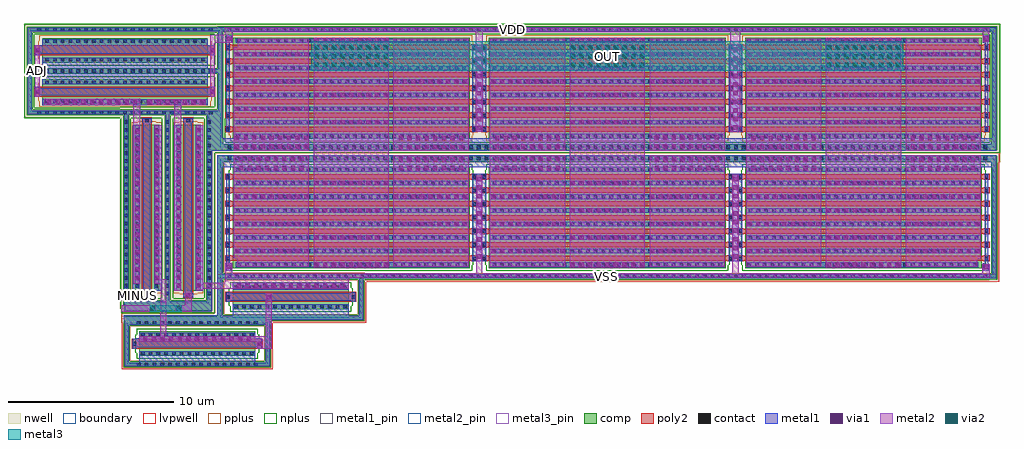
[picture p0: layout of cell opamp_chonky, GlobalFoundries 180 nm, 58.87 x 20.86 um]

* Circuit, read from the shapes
.subckt opamp_chonky ADJ MINUS OUT PLUS VDD VSS
XM1 n1 n1 VSS VSS nfet_03v3 w=7u l=0.6u
XM2 n2 n1 VSS VSS nfet_03v3 w=7u l=0.6u
XM3 VSS n2 OUT VSS nfet_03v3 w=14.29u l=0.3u m=21
XM4 VDD ADJ n3 VDD pfet_03v3 w=10u l=0.6u
XM5 ADJ ADJ VDD VDD pfet_03v3 w=10u l=0.6u
XM6 n1 MINUS n3 VDD pfet_03v3 w=10u l=0.6u
XM7 n2 PLUS n3 VDD pfet_03v3 w=10u l=0.6u
XM8 OUT ADJ VDD VDD pfet_03v3 w=14.29u l=0.3u m=21
.ends

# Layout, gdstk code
from math import pi, radians
import gdstk
lib = gdstk.Library(unit=1e-6, precision=1e-09)
def R(c, l, rs):  # rectangles x0, y0, x1, y1
    for r in rs: c.add(gdstk.rectangle(r[:2], r[2:], *l))
def A(c, l, x, y, w, h, nx, ny, dx, dy):  # array of equal rectangles
    R(c, l, [(x+i*dx, y+j*dy, x+i*dx+w, y+j*dy+h) for i in range(nx) for j in range(ny)])
boundary = (0, 0)
nwell = (21, 0)
comp = (22, 0)
poly2 = (30, 0)
pplus = (31, 0)
nplus = (32, 0)
contact = (33, 0)
metal1 = (34, 0)
metal1_pin = (34, 10)
via1 = (35, 0)
metal2 = (36, 0)
metal2_pin = (36, 10)
via2 = (38, 0)
metal3 = (42, 0)
metal3_pin = (42, 10)
lvpwell = (204, 0)

pfet_03v3_nbrhxb = lib.new_cell('pfet_03v3_NBRHXB')
R(pfet_03v3_nbrhxb, boundary, [(-1.25,-5.75,1.25,5.75)])
R(pfet_03v3_nbrhxb, nwell, [(-1.55,-6.05,1.55,6.05)])
R(pfet_03v3_nbrhxb, comp, [(-1.43,-5.93,1.43,-5.57), (-1.43,-5.57,-1.07,5.57), (1.07,-5.57,1.43,5.57), (-0.74,-5,0.74,5), (-1.43,5.57,1.43,5.93)])
R(pfet_03v3_nbrhxb, poly2, [(-0.3,-5.46,0.3,5.46)])
R(pfet_03v3_nbrhxb, pplus, [(-0.53,-5.23,0.53,-5.16), (-0.9,-5.16,0.9,5.16), (-0.53,5.16,0.53,5.23)])
R(pfet_03v3_nbrhxb, nplus, [(-1.59,-6.09,1.59,-5.46), (-1.59,-5.46,-0.96,5.46), (0.96,-5.46,1.59,5.46), (-1.59,5.46,1.59,6.09)])
A(pfet_03v3_nbrhxb, contact, -1.36, -5.28, 0.22, 0.22, 1, 23, 0, 0.47)
A(pfet_03v3_nbrhxb, contact, 1.14, -5.28, 0.22, 0.22, 1, 23, 0, 0.47)
A(pfet_03v3_nbrhxb, contact, -0.67, -4.81, 0.22, 0.22, 1, 21, 0, 0.47)
A(pfet_03v3_nbrhxb, contact, 0.45, -4.81, 0.22, 0.22, 1, 21, 0, 0.47)
R(pfet_03v3_nbrhxb, contact, [(-0.11,-5.39,0.11,-5.17), (-0.11,5.17,0.11,5.39)])
R(pfet_03v3_nbrhxb, metal1, [(-1.365,-5.865,1.365,-5.635), (-1.365,-5.635,-1.135,5.635), (1.135,-5.635,1.365,5.635), (-0.29,-5.395,0.29,-5.165), (-0.215,-5.165,0.215,5.165), (-0.675,-4.99,-0.445,4.99), (0.445,-4.99,0.675,4.99), (-0.29,5.165,0.29,5.395), (-1.365,5.635,1.365,5.865)])

nfet_03v3_p4zjfc = lib.new_cell('nfet_03v3_P4ZJFC')
R(nfet_03v3_p4zjfc, boundary, [(-1.25,-4.25,1.25,4.25)])
R(nfet_03v3_p4zjfc, comp, [(-1.43,-4.43,1.43,-4.07), (-1.43,-4.07,-1.07,4.07), (1.07,-4.07,1.43,4.07), (-0.74,-3.5,0.74,3.5), (-1.43,4.07,1.43,4.43)])
R(nfet_03v3_p4zjfc, poly2, [(-0.3,-3.96,0.3,3.96)])
R(nfet_03v3_p4zjfc, pplus, [(-1.45,-4.45,1.45,-4.05), (-1.45,-4.05,-1.04,-3.945), (1.04,-4.05,1.45,-3.945), (-1.46,-3.945,-1.04,3.945), (1.04,-3.945,1.46,3.945), (-1.45,3.945,-1.04,4.05), (1.04,3.945,1.45,4.05), (-1.45,4.05,1.45,4.45)])
R(nfet_03v3_p4zjfc, nplus, [(-0.53,-3.73,0.53,-3.66), (-0.9,-3.66,0.9,3.66), (-0.53,3.66,0.53,3.73)])
A(nfet_03v3_p4zjfc, contact, -1.36, -3.635, 0.22, 0.22, 1, 16, 0, 0.47)
A(nfet_03v3_p4zjfc, contact, 1.14, -3.635, 0.22, 0.22, 1, 16, 0, 0.47)
A(nfet_03v3_p4zjfc, contact, -0.67, -3.4, 0.22, 0.22, 1, 15, 0, 0.47)
A(nfet_03v3_p4zjfc, contact, 0.45, -3.4, 0.22, 0.22, 1, 15, 0, 0.47)
R(nfet_03v3_p4zjfc, contact, [(-0.11,-3.89,0.11,-3.67), (-0.11,3.67,0.11,3.89)])
R(nfet_03v3_p4zjfc, metal1, [(-1.365,-4.365,1.365,-4.135), (-1.365,-4.135,-1.135,4.135), (1.135,-4.135,1.365,4.135), (-0.29,-3.895,0.29,-3.665), (-0.215,-3.665,0.215,3.665), (-0.675,-3.49,-0.445,3.49), (0.445,-3.49,0.675,3.49), (-0.29,3.665,0.29,3.895), (-1.365,4.135,1.365,4.365)])
R(nfet_03v3_p4zjfc, lvpwell, [(-1.55,-4.55,1.55,4.55)])

pfet_03v3_682dum = lib.new_cell('pfet_03v3_682DUM')
R(pfet_03v3_682dum, boundary, [(-3.56,-23.345,3.56,23.345)])
R(pfet_03v3_682dum, nwell, [(-3.86,-23.645,3.86,23.645)])
A(pfet_03v3_682dum, comp, -3.05, -22.595, 6.1, 14.29, 1, 3, 0, 15.45)
R(pfet_03v3_682dum, comp, [(-3.74,-23.525,3.74,-23.165), (-3.74,-23.165,-3.38,23.165), (3.38,-23.165,3.74,23.165), (-3.74,23.165,3.74,23.525)])
A(pfet_03v3_682dum, poly2, -2.64, -23.055, 0.36, 0.36, 7, 2, 0.82, 14.85)
A(pfet_03v3_682dum, poly2, -2.61, -22.695, 0.3, 14.49, 7, 3, 0.82, 15.45)
A(pfet_03v3_682dum, poly2, -2.64, -7.605, 0.36, 0.36, 7, 2, 0.82, 14.85)
A(pfet_03v3_682dum, poly2, -2.64, 7.845, 0.36, 0.36, 7, 2, 0.82, 14.85)
A(pfet_03v3_682dum, pplus, -3.21, -22.755, 6.42, 14.61, 1, 3, 0, 15.45)
R(pfet_03v3_682dum, pplus, [(-2.84,-22.825,2.84,-22.755), (-2.84,-8.145,2.84,-8.075), (-2.84,-7.375,2.84,-7.305), (-2.84,7.305,2.84,7.375), (-2.84,8.075,2.84,8.145), (-2.84,22.755,2.84,22.825)])
R(pfet_03v3_682dum, nplus, [(-3.9,-23.685,3.9,-23.055), (-3.9,-23.055,-3.27,23.055), (3.27,-23.055,3.9,23.055), (-3.9,23.055,3.9,23.685)])
A(pfet_03v3_682dum, contact, -2.57, -22.985, 0.22, 0.22, 7, 2, 0.82, 14.85)
A(pfet_03v3_682dum, contact, -3.67, -22.905, 0.22, 0.22, 1, 98, 0, 0.47)
A(pfet_03v3_682dum, contact, 3.45, -22.905, 0.22, 0.22, 1, 98, 0, 0.47)
A(pfet_03v3_682dum, contact, -2.16, -22.375, 0.22, 0.22, 7, 30, 0.82, 0.47)
A(pfet_03v3_682dum, contact, -2.98, -22.32, 0.22, 0.22, 1, 30, 0, 0.47)
A(pfet_03v3_682dum, contact, -2.57, -7.535, 0.22, 0.22, 7, 2, 0.82, 14.85)
A(pfet_03v3_682dum, contact, -2.98, -6.925, 0.22, 0.22, 8, 30, 0.82, 0.47)
A(pfet_03v3_682dum, contact, -2.57, 7.915, 0.22, 0.22, 7, 2, 0.82, 14.85)
A(pfet_03v3_682dum, contact, -2.98, 8.44, 0.22, 0.22, 1, 30, 0, 0.47)
A(pfet_03v3_682dum, contact, -2.16, 8.525, 0.22, 0.22, 7, 30, 0.82, 0.47)
A(pfet_03v3_682dum, metal1, -2.165, -22.53, 0.23, 14.16, 7, 2, 0.82, 30.9)
A(pfet_03v3_682dum, metal1, -2.985, -7.08, 0.23, 14.16, 8, 1, 0.82, 0)
R(pfet_03v3_682dum, metal1, [(-3.675,-23.46,3.675,-23.23), (-3.675,-23.23,-3.445,23.23), (3.445,-23.23,3.675,23.23), (-2.63,-22.99,2.63,-22.76), (-2.985,-22.415,-2.755,-8.37), (-2.63,-8.14,2.63,-7.31), (-2.63,7.31,2.63,8.14), (-2.985,8.37,-2.755,22.31), (-2.63,22.76,2.63,22.99), (-3.675,23.23,3.675,23.46)])

nfet_03v3_usqaj4 = lib.new_cell('nfet_03v3_USQAJ4')
R(nfet_03v3_usqaj4, boundary, [(-3.56,-23.345,3.56,23.345)])
A(nfet_03v3_usqaj4, comp, -3.05, -22.595, 6.1, 14.29, 1, 3, 0, 15.45)
R(nfet_03v3_usqaj4, comp, [(-3.74,-23.525,3.74,-23.165), (-3.74,-23.165,-3.38,23.165), (3.38,-23.165,3.74,23.165), (-3.74,23.165,3.74,23.525)])
A(nfet_03v3_usqaj4, poly2, -2.64, -23.055, 0.36, 0.36, 7, 2, 0.82, 14.85)
A(nfet_03v3_usqaj4, poly2, -2.61, -22.695, 0.3, 14.49, 7, 3, 0.82, 15.45)
A(nfet_03v3_usqaj4, poly2, -2.64, -7.605, 0.36, 0.36, 7, 2, 0.82, 14.85)
A(nfet_03v3_usqaj4, poly2, -2.64, 7.845, 0.36, 0.36, 7, 2, 0.82, 14.85)
R(nfet_03v3_usqaj4, pplus, [(-3.76,-23.545,3.76,-23.145), (-3.76,-23.145,-3.35,-23.04), (3.35,-23.145,3.76,-23.04), (-3.77,-23.04,-3.35,23.04), (3.35,-23.04,3.77,23.04), (-3.76,23.04,-3.35,23.145), (3.35,23.04,3.76,23.145), (-3.76,23.145,3.76,23.545)])
A(nfet_03v3_usqaj4, nplus, -3.21, -22.755, 6.42, 14.61, 1, 3, 0, 15.45)
R(nfet_03v3_usqaj4, nplus, [(-2.84,-22.825,2.84,-22.755), (-2.84,-8.145,2.84,-8.075), (-2.84,-7.375,2.84,-7.305), (-2.84,7.305,2.84,7.375), (-2.84,8.075,2.84,8.145), (-2.84,22.755,2.84,22.825)])
A(nfet_03v3_usqaj4, contact, -2.57, -22.985, 0.22, 0.22, 7, 2, 0.82, 14.85)
A(nfet_03v3_usqaj4, contact, -3.67, -22.905, 0.22, 0.22, 1, 98, 0, 0.47)
A(nfet_03v3_usqaj4, contact, 3.45, -22.905, 0.22, 0.22, 1, 98, 0, 0.47)
A(nfet_03v3_usqaj4, contact, -2.98, -22.375, 0.22, 0.22, 7, 30, 0.82, 0.47)
A(nfet_03v3_usqaj4, contact, 2.76, -22.315, 0.22, 0.22, 1, 30, 0, 0.47)
A(nfet_03v3_usqaj4, contact, -2.57, -7.535, 0.22, 0.22, 7, 2, 0.82, 14.85)
A(nfet_03v3_usqaj4, contact, -2.98, -6.925, 0.22, 0.22, 8, 30, 0.82, 0.47)
A(nfet_03v3_usqaj4, contact, -2.57, 7.915, 0.22, 0.22, 7, 2, 0.82, 14.85)
A(nfet_03v3_usqaj4, contact, 2.76, 8.44, 0.22, 0.22, 1, 30, 0, 0.47)
A(nfet_03v3_usqaj4, contact, -2.98, 8.525, 0.22, 0.22, 7, 30, 0.82, 0.47)
A(nfet_03v3_usqaj4, metal1, -2.985, -22.53, 0.23, 14.16, 7, 2, 0.82, 30.9)
A(nfet_03v3_usqaj4, metal1, -2.985, -7.08, 0.23, 14.16, 8, 1, 0.82, 0)
R(nfet_03v3_usqaj4, metal1, [(-3.675,-23.46,3.675,-23.23), (-3.675,-23.23,-3.445,23.23), (3.445,-23.23,3.675,23.23), (-2.63,-22.99,2.63,-22.76), (2.755,-22.415,2.985,-8.37), (-2.63,-8.14,2.63,-7.31), (-2.63,7.31,2.63,8.14), (2.755,8.37,2.985,22.365), (-2.63,22.76,2.63,22.99), (-3.675,23.23,3.675,23.46)])
R(nfet_03v3_usqaj4, lvpwell, [(-3.86,-23.645,3.86,23.645)])

nfet_03v3_p4zjfc_2 = lib.new_cell('nfet_03v3_P4ZJFC_2')
R(nfet_03v3_p4zjfc_2, boundary, [(-1.25,-4.25,1.25,4.25)])
R(nfet_03v3_p4zjfc_2, comp, [(-1.43,-4.43,1.43,-4.07), (-1.43,-4.07,-1.07,4.07), (1.07,-4.07,1.43,4.07), (-0.74,-3.5,0.74,3.5), (-1.43,4.07,1.43,4.43)])
R(nfet_03v3_p4zjfc_2, poly2, [(-0.3,-3.96,0.3,3.96)])
R(nfet_03v3_p4zjfc_2, pplus, [(-1.45,-4.45,1.45,-4.05), (-1.45,-4.05,-1.05,4.05), (1.05,-4.05,1.45,4.05), (-1.45,4.05,1.45,4.45)])
R(nfet_03v3_p4zjfc_2, nplus, [(-0.53,-3.73,0.53,-3.66), (-0.9,-3.66,0.9,3.66), (-0.53,3.66,0.53,3.73)])
A(nfet_03v3_p4zjfc_2, contact, -0.67, -3.4, 0.22, 0.22, 1, 15, 0, 0.47)
A(nfet_03v3_p4zjfc_2, contact, 0.45, -3.4, 0.22, 0.22, 1, 15, 0, 0.47)
R(nfet_03v3_p4zjfc_2, contact, [(-0.11,-3.89,0.11,-3.67), (-0.11,3.67,0.11,3.89)])
R(nfet_03v3_p4zjfc_2, metal1, [(-1.365,-4.365,1.365,-4.135), (-1.365,-4.135,-1.135,4.135), (1.135,-4.135,1.365,4.135), (-0.29,-3.895,0.29,-3.665), (-0.215,-3.665,0.215,3.665), (-0.675,-3.49,-0.445,3.49), (0.445,-3.49,0.675,3.49), (-0.29,3.665,0.29,3.895), (-1.365,4.135,1.365,4.365)])
R(nfet_03v3_p4zjfc_2, lvpwell, [(-1.55,-4.55,1.55,4.55)])

opamp_chonky = lib.new_cell('opamp_chonky')
R(opamp_chonky, nwell, [(31.735,4.435,37.335,4.72), (31.855,4.72,37.215,4.84), (37.295,4.72,37.335,14.1), (31.925,4.84,37.15,4.905), (37.295,14.1,84.665,14.12), (37.295,14.12,37.375,14.22), (37.215,14.22,37.495,14.24), (37.175,14.24,37.495,16.34)])
R(opamp_chonky, comp, [(31.92,3.975,37.56,4), (31.855,4,37.56,4.235), (37.495,4.235,37.56,4.275), (31.855,4.555,37.175,4.84), (31.925,4.84,37.15,4.905), (37.175,14.24,37.495,16.34)])
R(opamp_chonky, pplus, [(31.695,3.845,37.72,4.395), (37.875,4.34,37.925,6.41), (37.335,4.395,37.72,4.435), (37.335,4.435,37.475,13.94), (37.875,6.41,37.98,6.42), (37.875,6.84,37.925,13.51), (37.875,13.51,84.165,13.53), (84.565,13.51,84.705,13.94), (37.335,13.94,37.98,13.95), (84.06,13.94,84.705,13.95), (37.335,13.95,84.705,14.08)])
R(opamp_chonky, nplus, [(31.695,4.395,37.335,5), (31.765,5,37.31,5.065), (37.015,14.08,37.655,16.5)])
A(opamp_chonky, metal1, 38.49, 8.035, 14.16, 0.26, 3, 7, 15.45, 0.82)
A(opamp_chonky, metal1, 38.49, 14.975, 14.16, 0.26, 3, 7, 15.45, 0.82)
R(opamp_chonky, metal1, [(32.795,1.435,39.775,1.935), (40.18,2.32,40.185,2.44), (39.925,2.44,40.185,2.74), (32.875,2.735,39.665,2.785), (40.18,2.74,40.185,2.86), (32.62,2.785,39.95,2.86), (32.62,2.86,40.185,2.9), (32.795,2.9,39.775,3.055), (31.92,3.935,40.42,3.975), (31.92,3.975,40.65,4), (31.855,4,40.65,4.025), (31.855,4.025,37.56,4.275), (38.435,4.255,45.415,4.715), (37.49,4.275,37.56,6.525), (31.925,4.505,37.15,4.905), (37.11,4.905,37.15,14.22), (40.465,5.265,40.725,5.525), (32.955,5.37,33.535,5.375), (35.455,5.37,36.035,5.375), (33.12,5.375,33.42,5.63), (35.615,5.375,35.915,5.605), (35.615,5.605,35.875,5.63), (32.38,5.78,32.8,15.76), (33.73,5.78,34.15,15.76), (34.88,5.78,35.3,15.76), (36.23,5.78,36.65,15.76), (38.49,5.94,45.365,6.065), (38.435,6.065,45.415,6.255), (37.49,6.525,84.48,6.755), (37.49,6.755,37.56,13.855), (53.94,6.755,68.1,6.785), (38.02,6.985,38.375,7.425), (83.665,6.985,84.02,7.425), (38.605,7.215,52.65,7.475), (53.94,7.215,68.1,7.475), (69.39,7.215,83.385,7.475), (38.03,7.425,38.26,7.57), (83.78,7.425,84.01,7.57), (53.11,7.65,53.48,12.685), (68.56,7.655,68.93,12.69), (37.79,13.215,84.25,13.645), (38.55,13.645,42.965,13.855), (48.175,13.645,52.59,13.855), (54,13.645,68.04,13.855), (69.46,13.645,73.875,13.855), (79.06,13.645,83.475,13.855), (37.49,13.855,84.48,13.94), (37.11,14.22,84.48,14.305), (37.11,14.305,37.56,16.405), (38.55,14.305,42.985,14.515), (48.18,14.305,52.595,14.515), (53.94,14.305,68.1,14.515), (69.45,14.305,73.865,14.515), (79.06,14.305,83.475,14.515), (37.79,14.515,84.25,14.975), (53.11,15.425,53.48,20.46), (68.56,15.43,68.93,20.465), (26.94,16.945,36.915,17.095), (27.095,17.095,32.81,17.28), (33.285,17.095,36.735,17.265), (26.525,17.48,26.53,17.64), (37.32,17.48,37.325,17.64), (26.525,17.64,26.785,17.9), (37.065,17.64,37.325,17.9), (26.525,17.9,26.53,18.06), (37.32,17.9,37.325,18.06), (26.935,18.215,36.915,19.825), (26.525,19.98,26.53,20.145), (37.32,19.98,37.325,20.14), (37.065,20.14,37.325,20.4), (26.525,20.145,26.785,20.405), (37.32,20.4,37.325,20.56), (26.525,20.405,26.53,20.56), (26.76,20.485,37.09,20.56), (83.78,20.53,84.01,20.73), (26.935,20.56,36.915,20.715), (38.03,20.59,38.26,20.735), (38.605,20.715,52.65,20.975), (53.94,20.715,68.1,20.975), (69.39,20.715,83.405,20.975), (83.665,20.73,84.01,20.79), (38.02,20.735,38.375,21.175), (83.665,20.79,84.02,21.17), (26.06,21.405,84.48,21.635)])
R(opamp_chonky, metal1_pin, [(37.49,6.525,84.48,6.755), (26.06,21.405,84.48,21.635)])
A(opamp_chonky, via1, 33.02, 2.735, 0.26, 0.26, 13, 1, 0.52, 0)
A(opamp_chonky, via1, 38.675, 5.94, 0.26, 0.26, 13, 1, 0.52, 0)
A(opamp_chonky, via1, 35.035, 5.95, 0.26, 0.26, 1, 19, 0, 0.52)
A(opamp_chonky, via1, 36.24, 5.965, 0.26, 0.26, 1, 19, 0, 0.52)
A(opamp_chonky, via1, 32.535, 6.41, 0.26, 0.26, 1, 18, 0, 0.52)
A(opamp_chonky, via1, 33.745, 6.41, 0.26, 0.26, 1, 18, 0, 0.52)
A(opamp_chonky, via1, 43.36, 7.215, 0.26, 0.26, 9, 4, 0.52, 1.64)
A(opamp_chonky, via1, 58.81, 7.215, 0.26, 0.26, 9, 4, 0.52, 1.64)
A(opamp_chonky, via1, 74.26, 7.215, 0.26, 0.26, 9, 4, 0.52, 1.64)
A(opamp_chonky, via1, 53.165, 7.695, 0.26, 0.26, 1, 10, 0, 0.52)
A(opamp_chonky, via1, 68.615, 7.7, 0.26, 0.26, 1, 10, 0, 0.52)
A(opamp_chonky, via1, 38.57, 8.035, 0.26, 0.26, 9, 3, 0.52, 1.64)
A(opamp_chonky, via1, 48.15, 8.035, 0.26, 0.26, 9, 3, 0.52, 1.64)
A(opamp_chonky, via1, 54.02, 8.035, 0.26, 0.26, 9, 3, 0.52, 1.64)
A(opamp_chonky, via1, 63.6, 8.035, 0.26, 0.26, 9, 3, 0.52, 1.64)
A(opamp_chonky, via1, 69.47, 8.035, 0.26, 0.26, 9, 3, 0.52, 1.64)
A(opamp_chonky, via1, 79.05, 8.035, 0.26, 0.26, 9, 3, 0.52, 1.64)
A(opamp_chonky, via1, 48.43, 13.035, 0.26, 0.26, 8, 2, 0.52, 0.52)
A(opamp_chonky, via1, 79.315, 13.035, 0.26, 0.26, 8, 2, 0.52, 0.52)
A(opamp_chonky, via1, 63.87, 13.04, 0.26, 0.26, 8, 2, 0.52, 0.52)
A(opamp_chonky, via1, 69.715, 13.04, 0.26, 0.26, 8, 2, 0.52, 0.52)
A(opamp_chonky, via1, 38.805, 13.045, 0.26, 0.26, 8, 2, 0.52, 0.52)
A(opamp_chonky, via1, 54.255, 13.045, 0.26, 0.26, 8, 2, 0.52, 0.52)
A(opamp_chonky, via1, 48.435, 14.32, 0.26, 0.26, 8, 2, 0.52, 0.52)
A(opamp_chonky, via1, 54.255, 14.33, 0.26, 0.26, 8, 2, 0.52, 0.52)
A(opamp_chonky, via1, 69.705, 14.33, 0.26, 0.26, 8, 2, 0.52, 0.52)
A(opamp_chonky, via1, 79.315, 14.335, 0.26, 0.26, 8, 2, 0.52, 0.52)
A(opamp_chonky, via1, 38.555, 14.34, 0.26, 0.26, 9, 2, 0.52, 0.52)
A(opamp_chonky, via1, 63.855, 14.355, 0.26, 0.26, 8, 2, 0.52, 0.52)
A(opamp_chonky, via1, 53.165, 15.47, 0.26, 0.26, 1, 10, 0, 0.52)
A(opamp_chonky, via1, 68.615, 15.475, 0.26, 0.26, 1, 10, 0, 0.52)
A(opamp_chonky, via1, 43.36, 15.795, 0.26, 0.26, 9, 4, 0.52, 1.64)
A(opamp_chonky, via1, 58.81, 15.795, 0.26, 0.26, 9, 4, 0.52, 1.64)
A(opamp_chonky, via1, 74.26, 15.795, 0.26, 0.26, 9, 4, 0.52, 1.64)
A(opamp_chonky, via1, 38.57, 16.615, 0.26, 0.26, 9, 3, 0.52, 1.64)
A(opamp_chonky, via1, 48.15, 16.615, 0.26, 0.26, 9, 3, 0.52, 1.64)
A(opamp_chonky, via1, 54.02, 16.615, 0.26, 0.26, 9, 3, 0.52, 1.64)
A(opamp_chonky, via1, 63.6, 16.615, 0.26, 0.26, 9, 3, 0.52, 1.64)
A(opamp_chonky, via1, 69.475, 16.615, 0.26, 0.26, 9, 2, 0.52, 1.64)
A(opamp_chonky, via1, 79.05, 16.615, 0.26, 0.26, 9, 3, 0.52, 1.64)
A(opamp_chonky, via1, 33.32, 17.005, 0.26, 0.26, 7, 1, 0.52, 0)
A(opamp_chonky, via1, 27.22, 17.02, 0.26, 0.26, 11, 1, 0.52, 0)
A(opamp_chonky, via1, 69.47, 19.895, 0.26, 0.26, 9, 1, 0.52, 0)
R(opamp_chonky, via1, [(39.925,2.44,40.185,2.7), (40.465,5.265,40.725,5.525), (33.12,5.37,33.38,5.63), (35.615,5.37,35.875,5.63), (83.715,7.055,83.975,7.315), (38.065,7.08,38.325,7.34), (26.525,17.64,26.785,17.9), (37.065,17.64,37.325,17.9), (37.065,20.14,37.325,20.4), (26.525,20.145,26.785,20.405), (38.065,20.83,38.325,21.09), (83.725,20.85,83.985,21.11)])
A(opamp_chonky, metal2, 43.305, 7.155, 4.535, 13.88, 3, 1, 15.45, 0)
R(opamp_chonky, metal2, [(39.91,2.28,40.77,2.685), (32.79,2.685,40.77,3.03), (34.065,3.03,34.41,3.995), (40.42,3.03,40.77,5.605), (34.065,3.995,34.415,4.44), (34.07,4.44,34.415,6.175), (31.735,4.505,33.785,4.895), (34.975,4.505,35.945,4.895), (35.555,4.895,35.945,5.64), (31.735,5.3,33.585,5.69), (34.89,5.78,35.31,16.945), (36.23,5.805,36.65,5.885), (36.23,5.885,45.415,6.255), (33.73,6.175,34.415,6.455), (32.42,6.18,32.84,16.945), (36.23,6.255,36.65,15.76), (37.98,6.255,45.415,6.535), (33.73,6.455,34.15,15.76), (37.98,6.535,84.075,6.815), (37.98,6.815,38.405,7.455), (53.1,6.815,53.49,12.745), (68.545,6.815,68.945,12.75), (83.62,6.815,84.075,7.375), (38.685,7.215,43.025,7.735), (48.12,7.215,52.655,13.94), (53.94,7.215,58.475,13.94), (63.57,7.215,68.105,13.94), (69.39,7.215,73.925,13.94), (79.02,7.215,83.34,7.655), (79.02,7.655,83.555,13.94), (38.49,7.735,43.025,13.94), (38.49,14.22,43.025,20.44), (48.12,14.22,52.655,20.975), (53.94,14.22,58.475,20.975), (63.57,14.22,68.105,20.975), (69.39,14.22,73.925,20.975), (79.02,14.22,83.555,20.51), (68.445,15.34,69.045,21.345), (53.07,15.365,53.515,21.345), (27.06,16.945,32.84,17.34), (33.255,16.945,36.8,17.325), (26.495,17.47,26.795,20.57), (37.055,17.47,37.355,20.725), (38.72,20.44,43.025,20.975), (79.02,20.51,83.385,20.975), (37.055,20.725,38.44,21.22), (83.665,20.79,84.055,21.345), (37.93,21.22,38.44,21.345), (37.93,21.345,84.055,21.625), (83.245,21.625,84.055,21.63)])
R(opamp_chonky, metal2_pin, [(31.735,4.505,33.585,4.895), (31.735,5.3,33.585,5.69), (26.495,17.47,26.795,20.57)])
A(opamp_chonky, via2, 74.27, 19.25, 0.26, 0.26, 9, 3, 0.52, 0.52)
A(opamp_chonky, via2, 58.815, 19.255, 0.26, 0.26, 9, 3, 0.52, 0.52)
A(opamp_chonky, via2, 43.36, 19.265, 0.26, 0.26, 9, 3, 0.52, 0.52)
R(opamp_chonky, via2, [(35.035,4.565,35.295,4.825), (33.475,4.58,33.735,4.84)])
R(opamp_chonky, metal3, [(33.43,4.505,35.35,4.895), (43.17,19.02,78.875,20.815)])
R(opamp_chonky, metal3_pin, [(43.17,19.02,78.875,20.815)])
R(opamp_chonky, lvpwell, [(31.92,3.975,37.56,4), (31.855,4,37.56,4.16), (31.735,4.16,37.56,4.275), (31.735,4.275,37.375,4.435), (37.335,4.435,37.375,14.04), (37.335,14.04,84.355,14.06), (37.335,14.06,84.665,14.1)])
opamp_chonky.add(gdstk.Reference(pfet_03v3_nbrhxb, (35.745,10.77)))
opamp_chonky.add(gdstk.Reference(pfet_03v3_nbrhxb, (33.245,10.77)))
opamp_chonky.add(gdstk.Reference(nfet_03v3_p4zjfc, (36.285,2.57), rotation=3*pi/2))
opamp_chonky.add(gdstk.Reference(pfet_03v3_682dum, (61.02,17.98), rotation=3*pi/2))
opamp_chonky.add(gdstk.Reference(nfet_03v3_usqaj4, (61.02,10.18), rotation=3*pi/2))
opamp_chonky.add(gdstk.Reference(pfet_03v3_nbrhxb, (31.925,20.27), rotation=3*pi/2))
opamp_chonky.add(gdstk.Reference(nfet_03v3_p4zjfc_2, (41.925,5.39), rotation=3*pi/2))
opamp_chonky.add(gdstk.Reference(pfet_03v3_nbrhxb, (31.925,17.77), rotation=3*pi/2))
opamp_chonky.add(gdstk.Label('VDD', (55.27,21.52), layer=34, texttype=10))
opamp_chonky.add(gdstk.Label('VSS', (60.985,6.64), layer=34, texttype=10))
opamp_chonky.add(gdstk.Label('ADJ', (26.645,19.02), layer=36, texttype=10))
opamp_chonky.add(gdstk.Label('MINUS', (32.66,5.495), layer=36, texttype=10))
opamp_chonky.add(gdstk.Label('PLUS', (32.66,4.7), layer=36, texttype=10))
opamp_chonky.add(gdstk.Label('OUT', (61.022,19.917), layer=42, texttype=10))

lib.write_gds('opamp_chonky.gds')
